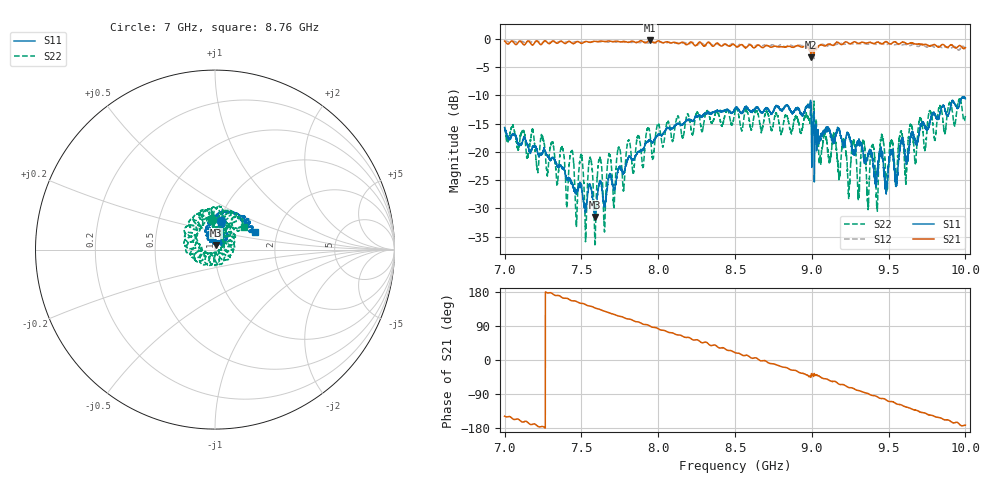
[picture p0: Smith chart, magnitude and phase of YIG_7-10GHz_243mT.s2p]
#  HZ  S  RI  R  50.0
! Rohde & Schwarz ZVL13 2Ports - Version 3.31 - 1303.6509k13 SN: 101088
! Date: 2023-03-06 15:30:23
! Data & Calibration Information:
! Trc4:S11(TOSM) Trc2:S21(TOSM) Trc3:S12(TOSM) Trc5:S22(TOSM)
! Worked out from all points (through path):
!   4000 points, 7 GHz to 10 GHz, reference 50 ohm
!   highest |S21| = -0.33 dB at 7.945 GHz (marker M1); lowest = -3.3 dB at 8.995 GHz (marker M2)
!   group delay of S21, straight-line fit = 356 ps
!   lowest |S11| = -31.5 dB at 7.587 GHz (marker M3), VSWR 1.05, Z = 50.4 + j2.64 ohm
!   |S11| at or under -10 dB: start of sweep to end of sweep
!   |S22| runs from -36.7 to -10.6 dB; largest |S21 - S12| = 0.11
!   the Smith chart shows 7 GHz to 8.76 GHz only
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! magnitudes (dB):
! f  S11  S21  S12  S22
! 7 GHz  -15.7  -0.4  -0.5  -15.7
! 7.374 GHz  -22.9  -0.5  -0.5  -19.1
! 7.406 GHz  -24.7  -0.7  -0.6  -28.6
! 7.436 GHz  -25.3  -0.7  -0.6  -19.9
! 7.467 GHz  -26.9  -0.6  -0.6  -33.2
! 7.5 GHz  -25.7  -0.8  -0.6  -20.7
! 7.587 GHz  -31.5  -0.5  -0.5  -35.5
! 7.619 GHz  -25.4  -0.5  -0.6  -21.2
! 7.65 GHz  -29.2  -0.5  -0.5  -34.2
! 7.68 GHz  -24.3  -0.4  -0.6  -20.5
! 7.712 GHz  -26.6  -0.5  -0.6  -29.2
! 7.945 GHz  -18.0  -0.3  -0.7  -16.5
! 8 GHz  -16.9  -0.4  -0.8  -15.0
! 8.5 GHz  -12.4  -1.2  -1.3  -12.9
! 8.995 GHz  -12.6  -3.3  -3.5  -11.5
! 9 GHz  -22.8  -2.0  -2.0  -16.1
! 9.242 GHz  -16.8  -0.9  -0.9  -27.9
! 9.272 GHz  -20.3  -0.6  -0.9  -18.5
! 9.303 GHz  -18.6  -0.8  -0.9  -27.7
! 9.333 GHz  -20.0  -0.7  -0.9  -18.3
! 9.5 GHz  -22.3  -0.8  -0.9  -22.0
! 10 GHz  -10.6  -1.6  -1.9  -13.7
